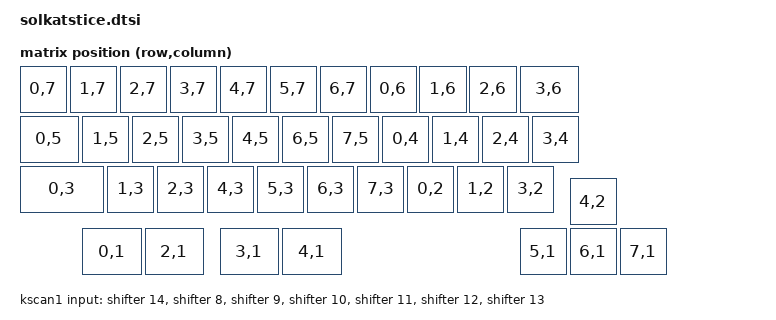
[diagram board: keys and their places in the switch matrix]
#include <dt-bindings/zmk/matrix_transform.h>
#include <physical_layouts.dtsi>

/ {
  chosen {
    zmk,physical-layout = &kat_physical_layout;
  };

  kat_physical_layout: kat_physical_layout {
      compatible = "zmk,physical-layout";
      display-name = "Default";
      transform = <&default_transform>;
      kscan = <&kscan0>;
      keys  //                     w   h    x    y     rot    rx    ry
          = <&key_physical_attrs 100 100    0    0       0     0     0>
          , <&key_physical_attrs 100 100  100    0       0     0     0>
          , <&key_physical_attrs 100 100  200    0       0     0     0>
          , <&key_physical_attrs 100 100  300    0       0     0     0>
          , <&key_physical_attrs 100 100  400    0       0     0     0>
          , <&key_physical_attrs 100 100  500    0       0     0     0>
          , <&key_physical_attrs 100 100  600    0       0     0     0>
          , <&key_physical_attrs 100 100  700    0       0     0     0>
          , <&key_physical_attrs 100 100  800    0       0     0     0>
          , <&key_physical_attrs 100 100  900    0       0     0     0>
          , <&key_physical_attrs 125 100 1000    0       0     0     0>
          , <&key_physical_attrs 125 100    0  100       0     0     0>
          , <&key_physical_attrs 100 100  125  100       0     0     0>
          , <&key_physical_attrs 100 100  225  100       0     0     0>
          , <&key_physical_attrs 100 100  325  100       0     0     0>
          , <&key_physical_attrs 100 100  425  100       0     0     0>
          , <&key_physical_attrs 100 100  525  100       0     0     0>
          , <&key_physical_attrs 100 100  625  100       0     0     0>
          , <&key_physical_attrs 100 100  725  100       0     0     0>
          , <&key_physical_attrs 100 100  825  100       0     0     0>
          , <&key_physical_attrs 100 100  925  100       0     0     0>
          , <&key_physical_attrs 100 100 1025  100       0     0     0>
          , <&key_physical_attrs 175 100    0  200       0     0     0>
          , <&key_physical_attrs 100 100  175  200       0     0     0>
          , <&key_physical_attrs 100 100  275  200       0     0     0>
          , <&key_physical_attrs 100 100  375  200       0     0     0>
          , <&key_physical_attrs 100 100  475  200       0     0     0>
          , <&key_physical_attrs 100 100  575  200       0     0     0>
          , <&key_physical_attrs 100 100  675  200       0     0     0>
          , <&key_physical_attrs 100 100  775  200       0     0     0>
          , <&key_physical_attrs 100 100  875  200       0     0     0>
          , <&key_physical_attrs 100 100  975  200       0     0     0>
          , <&key_physical_attrs 100 100 1100  225       0     0     0>
          , <&key_physical_attrs 125 100  125  325       0     0     0>
          , <&key_physical_attrs 125 100  250  325       0     0     0>
          , <&key_physical_attrs 125 100  400  325       0     0     0>
          , <&key_physical_attrs 125 100  525  325       0     0     0>
          , <&key_physical_attrs 100 100 1000  325       0     0     0>
          , <&key_physical_attrs 100 100 1100  325       0     0     0>
          , <&key_physical_attrs 100 100 1200  325       0     0     0>
          ;
    };
    
    default_transform: keymap_transform_0 {
      compatible = "zmk,matrix-transform";
      columns = <7>;
      rows = <7>;

      map = <
        RC(0,7)   RC(1,7)   RC(2,7)   RC(3,7)   RC(4,7)   RC(5,7)   RC(6,7)   RC(0,6)   RC(1,6)   RC(2,6)   RC(3,6)
        RC(0,5)   RC(1,5)   RC(2,5)   RC(3,5)   RC(4,5)   RC(6,5)   RC(7,5)   RC(0,4)   RC(1,4)   RC(2,4)   RC(3,4)
        RC(0,3)   RC(1,3)   RC(2,3)   RC(4,3)   RC(5,3)   RC(6,3)   RC(7,3)   RC(0,2)   RC(1,2)   RC(3,2)   RC(4,2)   
        RC(0,1)   RC(2,1)             RC(3,1)   RC(4,1)                                           RC(5,1)   RC(6,1)   RC(7,1) 
        >;
    };

    kscan1: kscan1 {
        compatible = "zmk,kscan-gpio-direct";
        input-gpios
        = <&shifter 14 GPIO_ACTIVE_LOW>
        , <&shifter 8 GPIO_ACTIVE_LOW>
        , <&shifter 9 GPIO_ACTIVE_LOW>
        , <&shifter 10 GPIO_ACTIVE_LOW>
        , <&shifter 11 GPIO_ACTIVE_LOW>
        , <&shifter 12 GPIO_ACTIVE_LOW>
        , <&shifter 13 GPIO_ACTIVE_LOW>
        ;
    };
};
    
